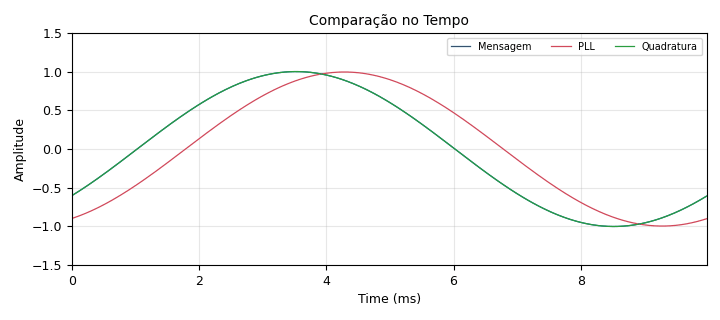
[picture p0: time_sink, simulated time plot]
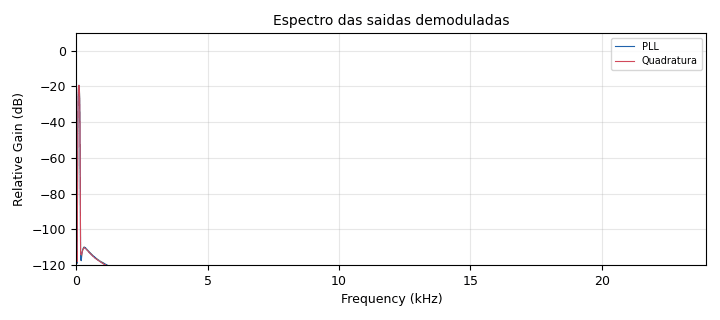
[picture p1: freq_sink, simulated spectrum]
options:
  parameters:
    author: Prof. Daniel Costa Araújo
    description: Pratica 07 - PLL como demodulador FM
    generate_options: qt_gui
    id: pratica_07_pll
    output_language: python
    title: Prática 07 - PLL
  states: {}

blocks:
- name: samp_rate
  id: variable
  parameters:
    comment: Taxa de amostragem
    value: '48000'
  states: {}
- name: f_lim
  id: variable
  parameters:
    comment: Limite de frequência do VCO (Hz)
    value: '500'
  states: {}
- name: max_freq
  id: variable
  parameters:
    comment: Limite do VCO em rad/amostra
    value: 2*math.pi*f_lim/samp_rate
  states: {}
- name: fm_freq
  id: variable_qtgui_range
  parameters:
    comment: Frequência da mensagem
    gui_hint: 0,0,1,1
    label: Frequência mensagem fm (Hz)
    start: '50'
    step: '50'
    stop: '1000'
    value: '100'
  states: {}
- name: max_dev
  id: variable_qtgui_range
  parameters:
    comment: Desvio máximo de frequência FM
    gui_hint: 0,1,1,1
    label: Desvio máximo (Hz)
    start: '100'
    step: '50'
    stop: '1000'
    value: '200'
  states: {}
- name: loop_bw
  id: variable_qtgui_range
  parameters:
    comment: Largura de banda do laço (rad/amostra)
    gui_hint: 1,0,1,1
    label: loop_bw (rad/amostra)
    start: '0.005'
    step: '0.005'
    stop: '0.08'
    value: '0.02'
  states: {}
- name: noise_amp
  id: variable_qtgui_range
  parameters:
    comment: Amplitude do ruído
    gui_hint: 1,1,1,1
    label: Amplitude ruído
    start: '0'
    step: '0.05'
    stop: '1.0'
    value: '0'
  states: {}
- name: import_math
  id: import
  parameters:
    imports: import math
  states: {}
- name: src_mensagem
  id: analog_sig_source_x
  parameters:
    amp: '1.0'
    comment: Sinal mensagem m(t)
    freq: fm_freq
    offset: '0'
    phase: '0'
    samp_rate: samp_rate
    type: float
    waveform: analog.GR_COS_WAVE
  states: {}
- name: fm_mod
  id: analog_frequency_modulator_fc
  parameters:
    comment: sensibilidade 2 pi max_dev / samp_rate
    sensitivity: 2*math.pi*max_dev/samp_rate
  states: {}
- name: throttle
  id: blocks_throttle2
  parameters:
    samples_per_second: samp_rate
    type: complex
  states: {}
- name: src_noise
  id: analog_noise_source_x
  parameters:
    amp: noise_amp
    comment: Ruído gaussiano complexo
    noise_type: analog.GR_GAUSSIAN
    seed: '0'
    type: complex
  states: {}
- name: add_noise
  id: blocks_add_xx
  parameters:
    comment: Soma sinal FM + ruído
    type: complex
  states: {}
- name: pll
  id: analog_pll_freqdet_cf
  parameters:
    comment: saída em rad/amostra
    max_freq: max_freq
    min_freq: '-max_freq'
    w: loop_bw
  states: {}
- name: pll_gain
  id: blocks_multiply_const_vxx
  parameters:
    comment: rad/amostra para m(t)
    const: samp_rate/(2*math.pi*max_dev)
    type: float
  states: {}
- name: quad_demod
  id: analog_quadrature_demod_cf
  parameters:
    comment: 'referencia: discriminador de quadratura (Pratica 05)'
    gain: samp_rate/(2*math.pi*max_dev)
  states: {}
- name: time_sink
  id: qtgui_time_sink_x
  parameters:
    grid: 'True'
    gui_hint: 2,0,1,2
    label1: '"Mensagem"'
    label2: '"PLL"'
    label3: '"Quadratura"'
    name: '"Comparação no Tempo"'
    nconnections: '3'
    size: '480'
    srate: samp_rate
    tr_delay: '0.001'
    tr_mode: qtgui.TRIG_MODE_NORM
    type: float
    ymax: '1.5'
    ymin: '-1.5'
  states: {}
- name: freq_sink
  id: qtgui_freq_sink_x
  parameters:
    average: '0.2'
    bw: samp_rate
    color1: '"red"'
    color2: '"green"'
    fc: '0'
    fftsize: '4096'
    freqhalf: 'False'
    grid: 'True'
    gui_hint: 3,0,1,2
    label1: '"PLL"'
    label2: '"Quadratura"'
    name: '"Espectro das saidas demoduladas"'
    nconnections: '2'
    type: float
    wintype: window.WIN_FLATTOP
    ymin: '-120'
  states: {}

connections:
- [src_mensagem, '0', fm_mod, '0']
- [fm_mod, '0', throttle, '0']
- [throttle, '0', add_noise, '0']
- [src_noise, '0', add_noise, '1']
- [add_noise, '0', pll, '0']
- [add_noise, '0', quad_demod, '0']
- [pll, '0', pll_gain, '0']
- [src_mensagem, '0', time_sink, '0']
- [pll_gain, '0', time_sink, '1']
- [quad_demod, '0', time_sink, '2']
- [pll_gain, '0', freq_sink, '0']
- [quad_demod, '0', freq_sink, '1']

metadata:
  file_format: 1
  grc_version: 3.10.12.0
